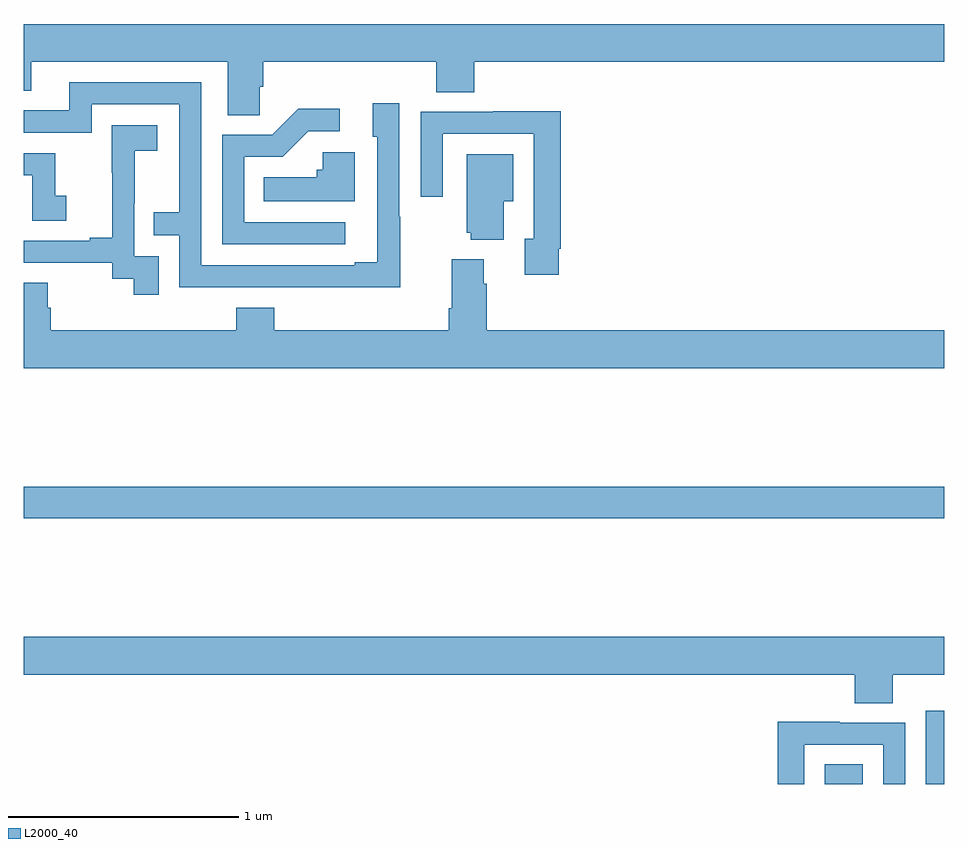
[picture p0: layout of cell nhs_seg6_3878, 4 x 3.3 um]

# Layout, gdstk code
import gdstk
lib = gdstk.Library(unit=1e-6, precision=1e-09)
def R(c, l, rs):  # rectangles x0, y0, x1, y1
    for r in rs: c.add(gdstk.rectangle(r[:2], r[2:], *l))
def P(c, l, *ps):  # polygons
    for p in ps: c.add(gdstk.Polygon(p, *l))
L2000_40 = (2000, 40)

nhs_seg6_3878 = lib.new_cell('nhs_seg6_3878')
R(nhs_seg6_3878, L2000_40, [(342.482,973.5,342.646,973.586), (342.921,973.5,343,973.819), (339,974.656,343,974.792)])
P(nhs_seg6_3878, L2000_40, [(340.026,976.531),(340.04,976.531),(340.04,976.64),(340.793,976.64),(340.793,976.507),(340.958,976.507),(340.958,976.64),(343,976.64),(343,976.804),(339,976.804),(339,976.513),(339.031,976.513),(339.031,976.64),(339.887,976.64),(339.887,976.408),(340.026,976.408)],
  [(340.635,975.965),(340.632,975.965),(340.632,976.459),(340.517,976.459),(340.517,976.314),(340.536,976.314),(340.536,975.769),(340.439,975.769),(340.439,975.756),(339.771,975.756),(339.771,976.551),(339.197,976.551),(339.197,976.428),(339,976.428),(339,976.332),(339.294,976.332),(339.294,976.455),(339.675,976.455),(339.675,975.986),(339.565,975.986),(339.565,975.885),(339.675,975.885),(339.675,975.66),(340.171,975.66),(340.171,975.659),(340.635,975.659)],
  [(340.396,975.942),(339.957,975.942),(339.957,976.227),(340.126,976.227),(340.237,976.338),(340.372,976.338),(340.372,976.436),(340.193,976.436),(340.08,976.323),(339.861,976.323),(339.861,975.846),(340.396,975.846)],
  [(341.326,975.826),(341.333,975.826),(341.333,976.424),(341.041,976.424),(341.041,976.422),(340.725,976.422),(340.725,976.053),(340.821,976.053),(340.821,976.326),(341.217,976.326),(341.217,975.87),(341.177,975.87),(341.177,975.714),(341.326,975.714)],
  [(339.585,975.795),(339.48,975.795),(339.48,976.025),(339.482,976.025),(339.482,976.253),(339.58,976.253),(339.58,976.363),(339.382,976.363),(339.382,976.157),(339.383,976.157),(339.383,975.874),(339.287,975.874),(339.287,975.861),(339,975.861),(339,975.765),(339.384,975.765),(339.384,975.697),(339.477,975.697),(339.477,975.627),(339.585,975.627)],
  [(340.438,976.246),(340.299,976.246),(340.299,976.17),(340.273,976.17),(340.273,976.138),(340.042,976.138),(340.042,976.034),(340.438,976.034)],
  [(339.184,976.057),(339.135,976.057),(339.135,976.242),(339,976.242),(339,976.146),(339.036,976.146),(339.036,975.948),(339.184,975.948)],
  [(341.086,976.034),(341.128,976.034),(341.128,976.237),(340.925,976.237),(340.925,975.897),(340.943,975.897),(340.943,975.866),(341.086,975.866)],
  [(343,975.472),(341.012,975.472),(341.012,975.674),(340.999,975.674),(340.999,975.781),(340.859,975.781),(340.859,975.568),(340.847,975.568),(340.847,975.472),(340.088,975.472),(340.088,975.571),(339.923,975.571),(339.923,975.472),(339.116,975.472),(339.116,975.57),(339.103,975.57),(339.103,975.68),(339,975.68),(339,975.308),(343,975.308)],
  [(342.776,973.976),(343,973.976),(343,974.14),(339,974.14),(339,973.976),(342.611,973.976),(342.611,973.852),(342.776,973.852)],
  [(342.393,973.671),(342.735,973.671),(342.735,973.5),(342.831,973.5),(342.831,973.767),(342.547,973.767),(342.547,973.771),(342.277,973.771),(342.277,973.5),(342.393,973.5)])

lib.write_gds('nhs_seg6_3878.gds')
